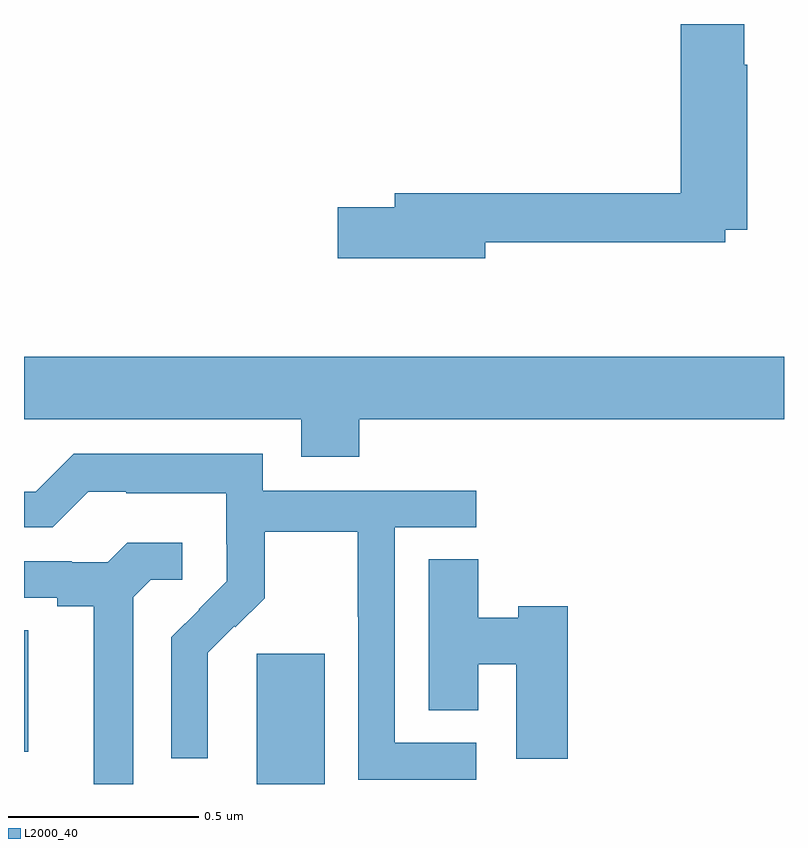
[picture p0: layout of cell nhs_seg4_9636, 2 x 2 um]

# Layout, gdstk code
import gdstk
lib = gdstk.Library(unit=1e-6, precision=1e-09)
def R(c, l, rs):  # rectangles x0, y0, x1, y1
    for r in rs: c.add(gdstk.rectangle(r[:2], r[2:], *l))
def P(c, l, *ps):  # polygons
    for p in ps: c.add(gdstk.Polygon(p, *l))
L2000_40 = (2000, 40)

nhs_seg4_9636 = lib.new_cell('nhs_seg4_9636')
R(nhs_seg4_9636, L2000_40, [(230.612,755.9,230.791,756.243), (230,755.985,230.011,756.305)])
P(nhs_seg4_9636, L2000_40, [(231.214,757.326),(231.846,757.326),(231.846,757.358),(231.903,757.358),(231.903,757.793),(231.895,757.793),(231.895,757.9),(231.728,757.9),(231.728,757.454),(230.975,757.454),(230.975,757.418),(230.826,757.418),(230.826,757.283),(231.214,757.283)],
  [(230.882,756.86),(232,756.86),(232,757.024),(230,757.024),(230,756.86),(230.729,756.86),(230.729,756.761),(230.882,756.761)],
  [(231.19,756.009),(230.976,756.009),(230.976,756.576),(231.19,756.576),(231.19,756.672),(230.628,756.672),(230.628,756.769),(230.131,756.769),(230.031,756.669),(230,756.669),(230,756.576),(230.076,756.576),(230.169,756.669),(230.269,756.669),(230.269,756.665),(230.532,756.665),(230.532,756.531),(230.534,756.531),(230.534,756.434),(230.46,756.36),(230.461,756.359),(230.388,756.286),(230.388,755.968),(230.484,755.968),(230.484,756.122),(230.483,756.122),(230.483,756.245),(230.553,756.315),(230.556,756.312),(230.633,756.389),(230.633,756.564),(230.878,756.564),(230.878,756.34),(230.88,756.34),(230.88,755.911),(231.19,755.911)],
  [(230.287,756.391),(230.334,756.438),(230.416,756.438),(230.416,756.535),(230.272,756.535),(230.22,756.483),(230.126,756.483),(230.126,756.486),(230,756.486),(230,756.39),(230.087,756.39),(230.087,756.368),(230.183,756.368),(230.183,755.9),(230.287,755.9)],
  [(231.431,756.368),(231.3,756.368),(231.3,756.337),(231.196,756.337),(231.196,756.491),(231.065,756.491),(231.065,756.094),(231.196,756.094),(231.196,756.215),(231.296,756.215),(231.296,755.967),(231.431,755.967)])

lib.write_gds('nhs_seg4_9636.gds')
